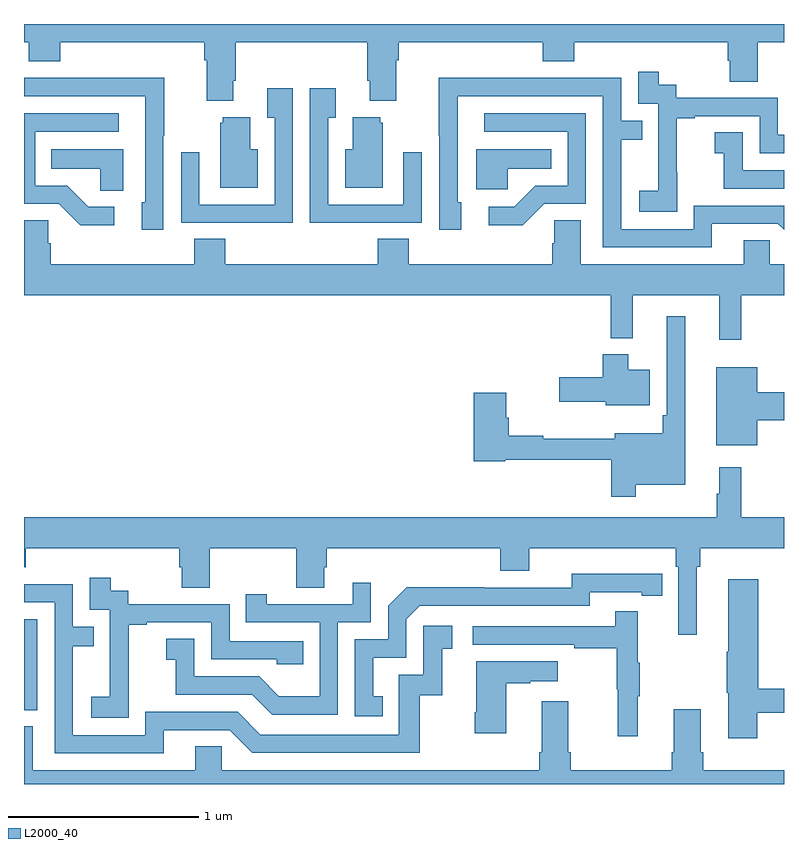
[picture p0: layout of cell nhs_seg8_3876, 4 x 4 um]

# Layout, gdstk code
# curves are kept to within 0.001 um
import gdstk
lib = gdstk.Library(unit=1e-6, precision=1e-09)
def R(c, l, rs):  # rectangles x0, y0, x1, y1
    for r in rs: c.add(gdstk.rectangle(r[:2], r[2:], *l))
def P(c, l, *ps):  # polygons
    for p in ps: c.add(gdstk.Polygon(p, *l))
L2000_40 = (2000, 40)

nhs_seg8_3876 = lib.new_cell('nhs_seg8_3876')
R(nhs_seg8_3876, L2000_40, [(349,1142.289,349.071,1142.766)])
P(nhs_seg8_3876, L2000_40, [(350.101,1145.602),(350.114,1145.602),(350.114,1145.804),(350.807,1145.804),(350.807,1145.602),(350.819,1145.602),(350.819,1145.495),(350.959,1145.495),(350.959,1145.708),(350.972,1145.708),(350.972,1145.804),(351.731,1145.804),(351.731,1145.705),(351.896,1145.705),(351.896,1145.804),(352.703,1145.804),(352.703,1145.706),(352.715,1145.706),(352.715,1145.596),(352.863,1145.596),(352.863,1145.804),(353,1145.804),(353,1145.9),(349,1145.9),(349,1145.804),(349.025,1145.804),(349.025,1145.705),(349.19,1145.705),(349.19,1145.804),(349.949,1145.804),(349.949,1145.708),(349.961,1145.708),(349.961,1145.495),(350.101,1145.495)],
  [(352.437,1145.119),(352.436,1145.119),(352.436,1145.403),(352.531,1145.403),(352.531,1145.415),(352.872,1145.415),(352.872,1145.22),(353,1145.22),(353,1145.316),(352.968,1145.316),(352.968,1145.511),(352.434,1145.511),(352.434,1145.58),(352.342,1145.58),(352.342,1145.65),(352.233,1145.65),(352.233,1145.481),(352.338,1145.481),(352.338,1145.252),(352.337,1145.252),(352.337,1145.023),(352.239,1145.023),(352.239,1144.913),(352.437,1144.913)],
  [(349.734,1145.311),(349.737,1145.311),(349.737,1145.618),(349.273,1145.618),(349.273,1145.616),(349,1145.616),(349,1145.52),(349.638,1145.52),(349.638,1144.962),(349.619,1144.962),(349.619,1144.818),(349.734,1144.818)],
  [(352.621,1144.848),(352.968,1144.848),(353,1144.816),(353,1144.944),(352.524,1144.944),(352.524,1144.821),(352.143,1144.821),(352.143,1145.29),(352.253,1145.29),(352.253,1145.391),(352.143,1145.391),(352.143,1145.616),(351.647,1145.616),(351.647,1145.618),(351.184,1145.618),(351.184,1145.311),(351.186,1145.311),(351.186,1144.818),(351.301,1144.818),(351.301,1144.962),(351.282,1144.962),(351.283,1145.52),(352.047,1145.52),(352.047,1144.725),(352.621,1144.725)],
  [(350.777,1144.854),(351.093,1144.854),(351.093,1145.224),(350.997,1145.224),(350.997,1144.95),(350.601,1144.95),(350.601,1145.407),(350.641,1145.407),(350.641,1145.563),(350.505,1145.563),(350.505,1144.853),(350.777,1144.853)],
  [(350.415,1145.563),(350.279,1145.563),(350.279,1145.407),(350.319,1145.407),(350.319,1144.95),(349.923,1144.95),(349.923,1145.224),(349.827,1145.224),(349.827,1144.854),(350.143,1144.854),(350.143,1144.853),(350.415,1144.853)],
  [(349.474,1144.938),(349.339,1144.938),(349.228,1145.049),(349.059,1145.049),(349.059,1145.334),(349.498,1145.334),(349.498,1145.43),(349,1145.43),(349,1144.953),(349.182,1144.953),(349.295,1144.841),(349.474,1144.841)],
  [(351.738,1144.953),(351.957,1144.953),(351.957,1145.43),(351.423,1145.43),(351.423,1145.334),(351.861,1145.334),(351.861,1145.049),(351.692,1145.049),(351.581,1144.938),(351.447,1144.938),(351.447,1144.841),(351.625,1144.841)],
  [(350.23,1145.242),(350.191,1145.242),(350.191,1145.41),(350.045,1145.41),(350.045,1145.379),(350.033,1145.379),(350.033,1145.039),(350.23,1145.039)],
  [(350.887,1145.379),(350.876,1145.379),(350.876,1145.41),(350.729,1145.41),(350.729,1145.242),(350.69,1145.242),(350.69,1145.039),(350.887,1145.039)],
  [(353,1145.13),(352.782,1145.13),(352.782,1145.329),(352.635,1145.329),(352.635,1145.219),(352.684,1145.219),(352.684,1145.034),(353,1145.034)],
  [(351.546,1145.138),(351.776,1145.138),(351.776,1145.242),(351.38,1145.242),(351.38,1145.03),(351.546,1145.03)],
  [(349.522,1145.242),(349.144,1145.242),(349.144,1145.138),(349.401,1145.138),(349.401,1145.023),(349.522,1145.023)],
  [(352.775,1144.472),(353,1144.472),(353,1144.636),(352.926,1144.636),(352.926,1144.763),(352.787,1144.763),(352.787,1144.636),(351.931,1144.636),(351.931,1144.868),(351.792,1144.868),(351.792,1144.745),(351.779,1144.745),(351.779,1144.636),(351.026,1144.636),(351.026,1144.769),(350.861,1144.769),(350.861,1144.636),(350.06,1144.636),(350.06,1144.769),(349.895,1144.769),(349.895,1144.636),(349.142,1144.636),(349.142,1144.745),(349.128,1144.745),(349.128,1144.868),(349,1144.868),(349,1144.472),(352.087,1144.472),(352.087,1144.247),(352.205,1144.247),(352.205,1144.472),(352.658,1144.472),(352.658,1144.239),(352.775,1144.239)],
  [(352.219,1143.476),(352.48,1143.476),(352.48,1144.363),(352.383,1144.363),(352.383,1143.841),(352.363,1143.841),(352.363,1143.745),(352.109,1143.745),(352.109,1143.716),(351.734,1143.716),(351.734,1143.734),(351.551,1143.734),(351.551,1143.828),(351.538,1143.828),(351.538,1143.958),(351.368,1143.958),(351.368,1143.598),(351.534,1143.598),(351.534,1143.606),(352.09,1143.606),(352.09,1143.411),(352.219,1143.411)],
  [(352.294,1144.081),(352.18,1144.081),(352.18,1144.162),(352.046,1144.162),(352.046,1144.041),(351.816,1144.041),(351.816,1143.911),(352.062,1143.911),(352.062,1143.893),(352.294,1143.893)],
  [(352.858,1143.815),(353,1143.815),(353,1143.962),(352.858,1143.962),(352.858,1144.093),(352.643,1144.093),(352.643,1143.683),(352.858,1143.683)],
  [(349,1143.041),(349.01,1143.041),(349.01,1143.14),(349.817,1143.14),(349.817,1143.042),(349.829,1143.042),(349.829,1142.932),(349.977,1142.932),(349.977,1143.14),(350.434,1143.14),(350.434,1142.932),(350.581,1142.932),(350.581,1143.042),(350.594,1143.042),(350.594,1143.14),(351.506,1143.14),(351.506,1143.023),(351.658,1143.023),(351.658,1143.14),(352.43,1143.14),(352.43,1143.044),(352.443,1143.044),(352.443,1142.685),(352.54,1142.685),(352.54,1143.044),(352.559,1143.044),(352.559,1143.14),(353,1143.14),(353,1143.304),(352.775,1143.304),(352.775,1143.568),(352.658,1143.568),(352.658,1143.428),(352.647,1143.428),(352.647,1143.304),(349,1143.304)],
  [(350.888,1142.361),(350.839,1142.361),(350.839,1142.565),(351.012,1142.565),(351.012,1142.766),(351.084,1142.838),(351.978,1142.838),(351.978,1142.91),(352.25,1142.91),(352.25,1142.89),(352.358,1142.89),(352.358,1143.006),(351.882,1143.007),(351.882,1142.934),(351.422,1142.934),(351.422,1142.936),(351.014,1142.936),(350.916,1142.838),(350.916,1142.661),(350.742,1142.661),(350.742,1142.256),(350.888,1142.256)],
  [(349.551,1142.455),(349.55,1142.455),(349.55,1142.739),(349.645,1142.739),(349.645,1142.751),(349.986,1142.751),(349.986,1142.556),(350.331,1142.556),(350.331,1142.529),(350.471,1142.529),(350.471,1142.652),(350.082,1142.652),(350.082,1142.847),(349.548,1142.847),(349.548,1142.916),(349.456,1142.916),(349.456,1142.986),(349.347,1142.986),(349.347,1142.817),(349.452,1142.817),(349.452,1142.588),(349.451,1142.588),(349.451,1142.359),(349.353,1142.359),(349.353,1142.249),(349.551,1142.249)],
  [(352.86,1142.274),(353,1142.274),(353,1142.402),(352.865,1142.402),(352.865,1142.977),(352.706,1142.977),(352.706,1142.597),(352.699,1142.597),(352.699,1142.379),(352.706,1142.379),(352.706,1142.142),(352.86,1142.142)],
  [(350.652,1142.751),(350.826,1142.751),(350.826,1142.959),(350.729,1142.959),(350.729,1142.847),(350.278,1142.847),(350.278,1142.899),(350.167,1142.899),(350.167,1142.751),(350.556,1142.751),(350.556,1142.362),(350.342,1142.362),(350.238,1142.466),(349.896,1142.466),(349.896,1142.665),(349.749,1142.665),(349.749,1142.555),(349.798,1142.555),(349.798,1142.37),(350.201,1142.37),(350.306,1142.265),(350.652,1142.265)],
  [(349.735,1142.184),(350.082,1142.184),(350.202,1142.064),(351.082,1142.064),(351.082,1142.367),(351.2,1142.367),(351.2,1142.613),(351.253,1142.613),(351.253,1142.734),(351.102,1142.734),(351.102,1142.475),(350.973,1142.475),(350.973,1142.16),(350.244,1142.16),(350.124,1142.28),(349.638,1142.28),(349.638,1142.157),(349.257,1142.157),(349.257,1142.626),(349.367,1142.626),(349.367,1142.727),(349.257,1142.727),(349.257,1142.952),(349,1142.952),(349,1142.856),(349.161,1142.856),(349.161,1142.061),(349.735,1142.061)],
  [(352.229,1142.363),(352.24,1142.363),(352.24,1142.537),(352.229,1142.537),(352.229,1142.809),(352.111,1142.809),(352.111,1142.73),(351.363,1142.73),(351.363,1142.634),(351.895,1142.634),(351.895,1142.614),(352.119,1142.614),(352.119,1142.4),(352.126,1142.4),(352.126,1142.151),(352.229,1142.151)],
  [(351.538,1142.431),(351.665,1142.431),(351.665,1142.441),(351.808,1142.441),(351.808,1142.545),(351.38,1142.545),(351.38,1142.278),(351.373,1142.278),(351.373,1142.166),(351.538,1142.166)],
  [(353,1141.972),(352.574,1141.972),(352.574,1142.068),(352.561,1142.068),(352.561,1142.293),(352.421,1142.293),(352.421,1142.068),(352.409,1142.068),(352.409,1141.972),(351.878,1141.972),(351.878,1142.068),(351.865,1142.068),(351.865,1142.335),(351.725,1142.335),(351.725,1142.068),(351.713,1142.068),(351.713,1141.972),(350.04,1141.972),(350.04,1142.099),(349.901,1142.099),(349.901,1141.972),(349.045,1141.972),(349.045,1142.204),(349,1142.204),(349,1141.9),(353,1141.9)])

lib.write_gds('nhs_seg8_3876.gds')
